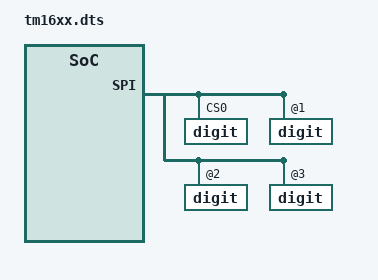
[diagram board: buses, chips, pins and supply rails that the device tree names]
/dts-v1/;
/plugin/;

/ {

    fragment@0 {
        target-path = "/spi-aux-display/display@0/digits/";
        __overlay__ {
			digit@0 {
				reg = <0>;
				segments = <0 3>, <0 1>, <0 2>, <0 6>, <0 4>, <0 5>, <0 0>;
           };
        };
    };
				
    fragment@1 {
        target-path = "/spi-aux-display/display@0/digits/";
        __overlay__ {
			digit@1 {
				//segments = <1 3>, <1 1>, <1 2>, <1 6>, <1 4>, <1 5>, <1 0>;
				segments = <1 6>, <1 2>, <1 5>, <1 3>, <1 4>, <1 2>, <1 0>;
           };
        };
    };
				
    fragment@2 {
        target-path = "/spi-aux-display/display@0/digits/";
        __overlay__ {
			digit@2 {
				//segments = <2 3>, <2 1>, <2 2>, <2 6>, <2 4>, <2 5>, <2 0>;
				segments = <2 0>, <2 1>, <2 2>, <2 3>, <2 4>, <2 5>, <2 6>;
           };
        };
    };
				
    fragment@3 {
        target-path = "/spi-aux-display/display@0/digits/";
        __overlay__ {
			digit@3 {
				segments = <3 6>, <3 1>, <3 2>, <3 3>, <3 4>, <3 5>, <3 0>;
           };
        };
    };
};
